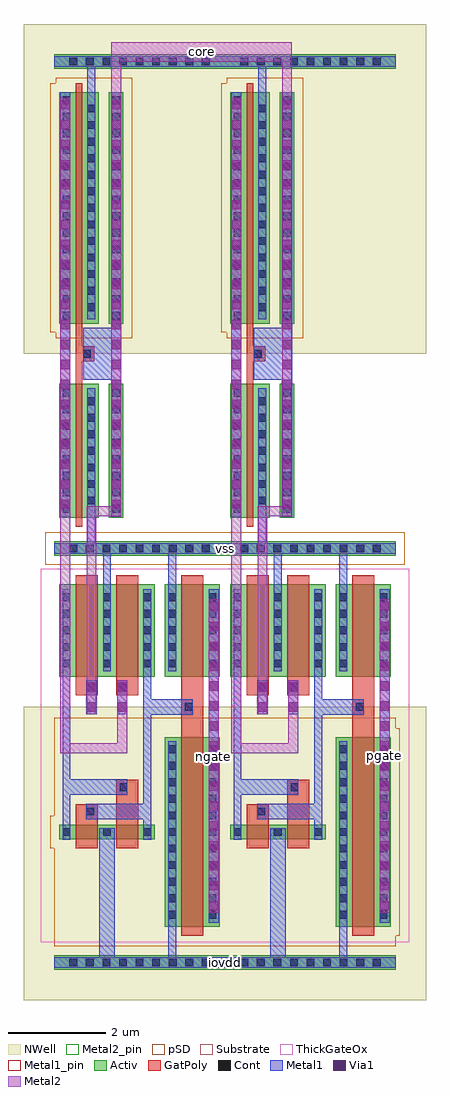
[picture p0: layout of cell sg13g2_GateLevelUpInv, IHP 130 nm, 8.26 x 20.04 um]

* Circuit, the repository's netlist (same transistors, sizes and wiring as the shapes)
* Extracted by KLayout with SG13G2 LVS runset on : 13/03/2026 09:28

.SUBCKT sg13g2_GateLevelUpInv iovdd vdd vss pgate ngate core
X$1 iovdd pgate \$7 core vss vdd sg13g2_LevelUpInv_noptap
X$2 iovdd ngate \$7 core vss vdd sg13g2_LevelUpInv_noptap
R$1 \$7 vss ptap1 A=2.106p P=14.64u
.ENDS sg13g2_GateLevelUpInv

.SUBCKT sg13g2_LevelUpInv_noptap iovdd o \$5 i vss vdd
M$1 \$6 i vss \$5 sg13_lv_nmos L=0.13u W=2.75u AS=0.935p AD=0.935p PS=6.18u
+ PD=6.18u
M$2 vss \$4 o \$5 sg13_hv_nmos L=0.45u W=1.9u AS=0.646p AD=0.646p PS=4.48u
+ PD=4.48u
M$3 \$3 i vss \$5 sg13_hv_nmos L=0.45u W=1.9u AS=0.646p AD=0.361p PS=4.48u
+ PD=2.28u
M$4 vss \$6 \$4 \$5 sg13_hv_nmos L=0.45u W=1.9u AS=0.361p AD=0.646p PS=2.28u
+ PD=4.48u
M$5 \$6 i vdd vdd sg13_lv_pmos L=0.13u W=4.75u AS=1.615p AD=1.615p PS=10.18u
+ PD=10.18u
M$6 iovdd \$4 o iovdd sg13_hv_pmos L=0.45u W=3.9u AS=1.326p AD=1.326p PS=8.48u
+ PD=8.48u
M$7 \$3 \$4 iovdd iovdd sg13_hv_pmos L=0.45u W=0.3u AS=0.102p AD=0.057p
+ PS=1.28u PD=0.68u
M$8 iovdd \$3 \$4 iovdd sg13_hv_pmos L=0.45u W=0.3u AS=0.057p AD=0.102p
+ PS=0.68u PD=1.28u
.ENDS sg13g2_LevelUpInv_noptap

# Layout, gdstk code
import gdstk
lib = gdstk.Library(unit=1e-6, precision=5e-09)
def R(c, l, rs):  # rectangles x0, y0, x1, y1
    for r in rs: c.add(gdstk.rectangle(r[:2], r[2:], *l))
def A(c, l, x, y, w, h, nx, ny, dx, dy):  # array of equal rectangles
    R(c, l, [(x+i*dx, y+j*dy, x+i*dx+w, y+j*dy+h) for i in range(nx) for j in range(ny)])
def P(c, l, *ps):  # polygons
    for p in ps: c.add(gdstk.Polygon(p, *l))
Activ = (1, 0)
GatPoly = (5, 0)
Cont = (6, 0)
Metal1 = (8, 0)
Metal1_pin = (8, 2)
Metal2 = (10, 0)
Metal2_pin = (10, 2)
pSD = (14, 0)
Via1 = (19, 0)
NWell = (31, 0)
Substrate = (40, 0)
ThickGateOx = (44, 0)

sg13g2_levelupinv_noptap = lib.new_cell('sg13g2_LevelUpInv_noptap')
R(sg13g2_levelupinv_noptap, Activ, [(0,-0.15,3.51,0.15), (2.275,0.73,3.405,4.63), (0.105,2.53,2.065,2.83), (0.105,5.87,1.235,7.77), (1.15,5.87,1.85,7.77), (1.765,5.87,2.065,7.77), (2.275,5.87,3.405,7.77), (0,8.35,3.51,8.65), (0.105,9.13,0.915,11.88), (1.125,9.13,1.425,11.88), (0.105,13.12,0.915,17.87), (1.125,13.12,1.425,17.87), (0,18.35,3.51,18.65)])
R(sg13g2_levelupinv_noptap, GatPoly, [(2.615,0.55,3.065,7.95), (0.445,2.35,0.895,3.01), (0.445,2.35,0.895,3.25), (1.275,2.35,1.725,3.75), (1.275,3.45,1.575,3.75), (0.445,5.49,0.895,7.95), (0.595,5.49,0.895,5.79), (1.275,5.49,1.575,5.79), (1.275,5.49,1.725,7.95), (0.445,5.69,0.895,7.95), (1.275,5.69,1.725,7.95)])
P(sg13g2_levelupinv_noptap, GatPoly, [(0.445,8.95),(0.445,18.05),(0.575,18.05),(0.575,12.65),(0.825,12.65),(0.825,12.35),(0.575,12.35),(0.575,8.95)])
A(sg13g2_levelupinv_noptap, Cont, 0.315, -0.08, 0.16, 0.16, 9, 2, 0.34, 8.5)
A(sg13g2_levelupinv_noptap, Cont, 2.345, 0.9, 0.16, 0.16, 1, 11, 0, 0.34)
A(sg13g2_levelupinv_noptap, Cont, 3.175, 0.9, 0.16, 0.16, 1, 11, 0, 0.34)
A(sg13g2_levelupinv_noptap, Cont, 0.175, 2.6, 0.16, 0.16, 3, 2, 0.83, 3.46)
A(sg13g2_levelupinv_noptap, Cont, 2.345, 6.06, 0.16, 0.16, 1, 5, 0, 0.34)
A(sg13g2_levelupinv_noptap, Cont, 3.175, 6.06, 0.16, 0.16, 1, 5, 0, 0.34)
A(sg13g2_levelupinv_noptap, Cont, 0.175, 6.4, 0.16, 0.16, 3, 4, 0.83, 0.34)
A(sg13g2_levelupinv_noptap, Cont, 0.175, 9.235, 0.16, 0.16, 1, 8, 0, 0.34)
A(sg13g2_levelupinv_noptap, Cont, 1.195, 9.235, 0.16, 0.16, 1, 8, 0, 0.34)
A(sg13g2_levelupinv_noptap, Cont, 0.685, 9.405, 0.16, 0.16, 1, 7, 0, 0.34)
A(sg13g2_levelupinv_noptap, Cont, 0.175, 13.205, 0.16, 0.16, 1, 14, 0, 0.34)
A(sg13g2_levelupinv_noptap, Cont, 1.195, 13.205, 0.16, 0.16, 1, 14, 0, 0.34)
A(sg13g2_levelupinv_noptap, Cont, 0.685, 13.375, 0.16, 0.16, 1, 13, 0, 0.34)
A(sg13g2_levelupinv_noptap, Cont, 0.315, 18.42, 0.16, 0.16, 9, 1, 0.34, 0)
R(sg13g2_levelupinv_noptap, Cont, [(0.665,3.02,0.825,3.18), (1.345,3.52,1.505,3.68), (2.685,5.17,2.845,5.33), (0.665,5.56,0.825,5.72), (1.345,5.56,1.505,5.72), (0.595,12.42,0.755,12.58)])
R(sg13g2_levelupinv_noptap, Metal1, [(3.175,0.82,3.385,7.66), (0.665,2.94,0.825,3.26), (1.345,3.44,1.505,3.76), (0.665,5.1,0.875,5.8), (1.295,5.1,1.505,5.8), (0.665,5.48,0.825,5.8), (1.345,5.48,1.505,5.8), (0.125,9.155,0.335,17.865)])
P(sg13g2_levelupinv_noptap, Metal1, [(1.835,2.52),(1.835,2.94),(0.665,2.94),(0.665,3.26),(1.835,3.26),(1.835,7.66),(1.995,7.66),(1.995,5.41),(2.845,5.41),(2.845,5.09),(1.995,5.09),(1.995,2.52)],
  [(0,-0.105),(0,0.105),(0.925,0.105),(0.925,2.76),(1.245,2.76),(1.245,0.105),(2.345,0.105),(2.345,4.54),(2.505,4.54),(2.505,0.105),(3.51,0.105),(3.51,-0.105)],
  [(0.175,2.52),(0.175,7.66),(0.335,7.66),(0.335,3.76),(1.505,3.76),(1.505,3.44),(0.335,3.44),(0.335,2.52)],
  [(1.17,9.155),(1.17,11.97),(0.595,11.97),(0.595,13.03),(1.17,13.03),(1.17,17.865),(1.38,17.865),(1.38,9.155)],
  [(1.005,5.98),(1.005,8.395),(0,8.395),(0,8.605),(0.685,8.605),(0.685,11.79),(0.845,11.79),(0.845,8.605),(3.51,8.605),(3.51,8.395),(2.505,8.395),(2.505,5.98),(2.345,5.98),(2.345,8.395),(1.165,8.395),(1.165,5.98)],
  [(0.685,13.21),(0.685,18.395),(0,18.395),(0,18.605),(3.51,18.605),(3.51,18.395),(0.845,18.395),(0.845,13.21)])
R(sg13g2_levelupinv_noptap, Metal1_pin, [(0,-0.105,3.51,0.105), (0,8.395,3.51,8.605), (0,18.395,3.51,18.605)])
R(sg13g2_levelupinv_noptap, Metal2, [(3.18,1.02,3.38,7.46), (0.67,5.1,0.87,5.8), (1.3,5.1,1.5,5.8), (1.175,9.265,1.375,17.755)])
P(sg13g2_levelupinv_noptap, Metal2, [(0.13,4.3),(0.13,17.755),(0.33,17.755),(0.33,4.5),(1.3,4.5),(1.3,5.1),(1.5,5.1),(1.5,4.3)],
  [(0.67,5.8),(0.67,9.365),(1.375,9.365),(1.375,9.165),(0.87,9.165),(0.87,5.8)])
R(sg13g2_levelupinv_noptap, Metal2_pin, [(3.18,1.02,3.38,7.46), (1.175,9.265,1.375,17.755)])
R(sg13g2_levelupinv_noptap, pSD, [(-0.18,8.17,3.69,8.83)])
P(sg13g2_levelupinv_noptap, pSD, [(0.035,12.82),(0.035,12.94),(-0.075,12.94),(-0.075,18.05),(0.035,18.05),(0.035,18.17),(1.605,18.17),(1.605,12.82)],
  [(0,0.33),(0,2.35),(-0.075,2.35),(-0.075,3.01),(0,3.01),(0,5.03),(3.51,5.03),(3.51,4.81),(3.585,4.81),(3.585,0.55),(3.51,0.55),(3.51,0.33)])
A(sg13g2_levelupinv_noptap, Via1, 3.185, 1.07, 0.19, 0.19, 1, 16, 0, 0.41)
A(sg13g2_levelupinv_noptap, Via1, 0.135, 9.315, 0.19, 0.19, 1, 21, 0, 0.41)
A(sg13g2_levelupinv_noptap, Via1, 1.18, 9.315, 0.19, 0.19, 1, 21, 0, 0.41)
R(sg13g2_levelupinv_noptap, Via1, [(0.675,5.15,0.865,5.34), (1.305,5.15,1.495,5.34), (0.675,5.56,0.865,5.75), (1.305,5.56,1.495,5.75)])
R(sg13g2_levelupinv_noptap, NWell, [(-0.62,-0.77,4.13,5.25), (-0.62,12.5,4.13,19.27)])
R(sg13g2_levelupinv_noptap, Substrate, [(0,8.35,3.51,8.65)])
R(sg13g2_levelupinv_noptap, ThickGateOx, [(-0.27,0.42,3.78,8.08)])
sg13g2_levelupinv_noptap.add(gdstk.Label('o', (3.28,4.24), layer=10, texttype=25))
sg13g2_levelupinv_noptap.add(gdstk.Label('i', (1.275,13.51), layer=10, texttype=25))
sg13g2_levelupinv_noptap.add(gdstk.Label('sub!', (3.25,8.51), layer=63, texttype=0))
sg13g2_levelupinv_noptap.add(gdstk.Label('iovdd', (1.755,0), layer=8, texttype=25))
sg13g2_levelupinv_noptap.add(gdstk.Label('vss', (1.755,8.5), layer=8, texttype=25))
sg13g2_levelupinv_noptap.add(gdstk.Label('vdd', (1.755,18.5), layer=8, texttype=25))

sg13g2_gatelevelupinv = lib.new_cell('sg13g2_GateLevelUpInv')
R(sg13g2_gatelevelupinv, Metal1, [(0,-19.605,7.02,-19.395), (0,-11.105,7.02,-10.895), (0,-1.105,7.02,-0.895)])
R(sg13g2_gatelevelupinv, Metal1_pin, [(0,-19.605,7.02,-19.395), (0,-11.105,7.02,-10.895), (0,-1.105,7.02,-0.895)])
R(sg13g2_gatelevelupinv, Metal2, [(3.18,-18.48,3.38,-12.04), (6.69,-18.48,6.89,-12.04)])
P(sg13g2_gatelevelupinv, Metal2, [(1.175,-10.235),(1.175,-0.6),(4.885,-0.6),(4.885,-10.235),(4.685,-10.235),(4.685,-1),(1.375,-1),(1.375,-10.235)])
R(sg13g2_gatelevelupinv, Metal2_pin, [(3.18,-18.48,3.38,-12.04), (6.69,-18.48,6.89,-12.04), (1.175,-1,4.885,-0.6)])
sg13g2_gatelevelupinv.add(gdstk.Reference(sg13g2_levelupinv_noptap, (0,-19.5)))
sg13g2_gatelevelupinv.add(gdstk.Reference(sg13g2_levelupinv_noptap, (3.51,-19.5)))
sg13g2_gatelevelupinv.add(gdstk.Label('pgate', (6.795,-15.245), layer=10, texttype=25))
sg13g2_gatelevelupinv.add(gdstk.Label('ngate', (3.28,-15.26), layer=10, texttype=25))
sg13g2_gatelevelupinv.add(gdstk.Label('core', (3.03,-0.8), layer=10, texttype=25))
sg13g2_gatelevelupinv.add(gdstk.Label('iovdd', (3.51,-19.5), layer=8, texttype=25))
sg13g2_gatelevelupinv.add(gdstk.Label('vdd', (3.51,-1), layer=8, texttype=25))
sg13g2_gatelevelupinv.add(gdstk.Label('vss', (3.51,-11), layer=8, texttype=25))

lib.write_gds('sg13g2_GateLevelUpInv.gds')
